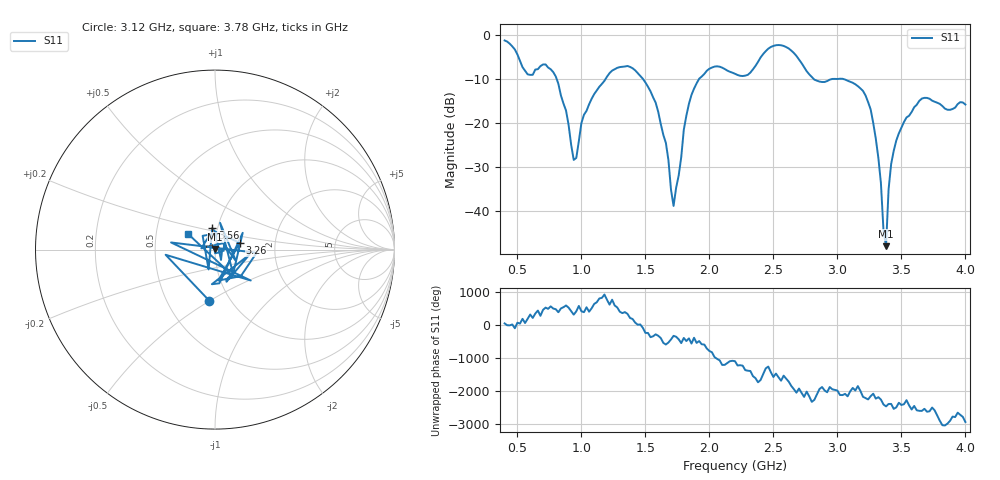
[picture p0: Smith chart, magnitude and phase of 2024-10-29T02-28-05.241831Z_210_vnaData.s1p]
!Created with skrf (http://scikit-rf.org).
# Hz S RI R 50.0
!freq ReS11 ImS11
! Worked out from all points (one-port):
!   181 points, 400 MHz to 4 GHz, reference 50 ohm
!   lowest |S11| = -48.0 dB at 3.38 GHz (marker M1), VSWR 1.01, Z = 50.2 + j0.367 ohm
!   |S11| at or under -10 dB: 807.2 MHz to 1.188 GHz (380.7 MHz wide, 38.2 % of centre); 1.482 GHz to 1.918 GHz (435.7 MHz wide, 25.6 % of centre); 3.05 GHz to end of sweep (the widest 3 of 4)
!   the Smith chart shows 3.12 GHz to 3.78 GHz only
!   S11 on the Smith chart (normalised r, x): 3.12 GHz: 0.80, -0.50; 3.26 GHz: 1.32, +0.10; 3.56 GHz: 0.94, +0.23; 3.78 GHz: 0.73, +0.13
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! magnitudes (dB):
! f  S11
! 400 MHz  -1.2
! 580 MHz  -8.9
! 760 MHz  -7.7
! 860 MHz  -15.5
! 940 MHz  -28.3
! 1.08 GHz  -14.5
! 1.3 GHz  -7.3
! 1.58 GHz  -15.3
! 1.66 GHz  -24.5
! 1.72 GHz  -38.8
! 1.76 GHz  -31.9
! 1.82 GHz  -18.3
! 1.92 GHz  -9.9
! 2.2 GHz  -8.8
! 2.5 GHz  -2.4
! 2.66 GHz  -4.1
! 2.82 GHz  -10.1
! 3.1 GHz  -10.6
! 3.12 GHz  -10.8
! 3.26 GHz  -16.9
! 3.32 GHz  -27.9
! 3.36 GHz  -44.3
! 3.38 GHz  -48.0
! 3.4 GHz  -35.0
! 3.42 GHz  -29.3
! 3.56 GHz  -18.3
! 3.78 GHz  -15.4
! 4 GHz  -15.8
